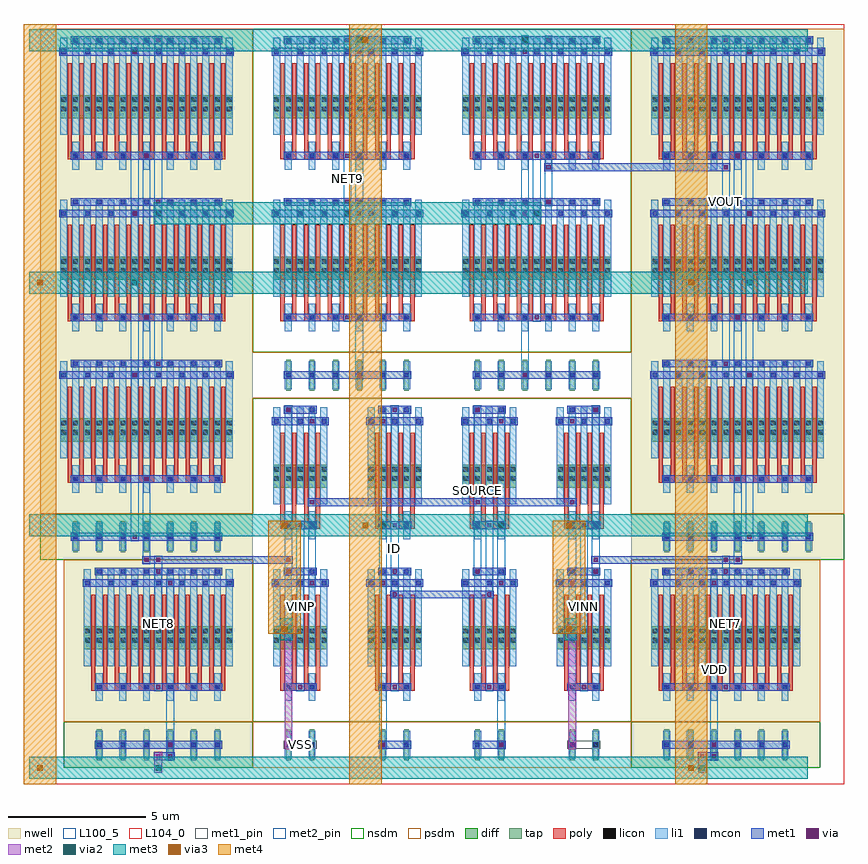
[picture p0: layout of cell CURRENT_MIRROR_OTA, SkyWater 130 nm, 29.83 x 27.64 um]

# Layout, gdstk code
import gdstk
lib = gdstk.Library(unit=1e-6, precision=1e-09)
def R(c, l, rs):  # rectangles x0, y0, x1, y1
    for r in rs: c.add(gdstk.rectangle(r[:2], r[2:], *l))
def A(c, l, x, y, w, h, nx, ny, dx, dy):  # array of equal rectangles
    R(c, l, [(x+i*dx, y+j*dy, x+i*dx+w, y+j*dy+h) for i in range(nx) for j in range(ny)])
nwell = (64, 20)
diff = (65, 20)
tap = (65, 44)
poly = (66, 20)
licon = (66, 44)
li1 = (67, 20)
mcon = (67, 44)
met1_pin = (68, 16)
met1 = (68, 20)
via = (68, 44)
met2_pin = (69, 16)
met2 = (69, 20)
via2 = (69, 44)
met3 = (70, 20)
via3 = (70, 44)
met4 = (71, 20)
nsdm = (93, 44)
psdm = (94, 20)
L100_5 = (100, 5)
L104_0 = (104, 0)

current_mirror_ota = lib.new_cell('CURRENT_MIRROR_OTA')
R(current_mirror_ota, nwell, [(0.86,0,7.74,7.56), (21.5,0,28.38,7.56), (0,7.56,7.74,26.88), (21.5,7.56,29.24,26.88)])
A(current_mirror_ota, diff, 8.475, 4.305, 1.97, 0.84, 4, 2, 3.44, 5.88)
A(current_mirror_ota, diff, 0.735, 11.865, 6.27, 0.84, 1, 3, 0, 5.88)
A(current_mirror_ota, diff, 22.235, 11.865, 6.27, 0.84, 1, 3, 0, 5.88)
R(current_mirror_ota, diff, [(1.595,4.305,7.005,5.145), (22.235,4.305,27.645,5.145), (8.475,17.745,13.885,18.585), (15.355,17.745,20.765,18.585), (8.475,23.625,13.885,24.465), (15.355,23.625,20.765,24.465)])
A(current_mirror_ota, tap, 2.065, 0.28, 0.17, 1.12, 6, 1, 0.86, 0)
A(current_mirror_ota, tap, 22.705, 0.28, 0.17, 1.12, 6, 1, 0.86, 0)
A(current_mirror_ota, tap, 1.205, 7.84, 0.17, 1.12, 7, 1, 0.86, 0)
A(current_mirror_ota, tap, 22.705, 7.84, 0.17, 1.12, 7, 1, 0.86, 0)
A(current_mirror_ota, tap, 8.945, 13.72, 0.17, 1.12, 6, 1, 0.86, 0)
A(current_mirror_ota, tap, 15.825, 13.72, 0.17, 1.12, 6, 1, 0.86, 0)
R(current_mirror_ota, tap, [(8.945,0.28,9.115,1.4), (9.805,0.28,9.975,1.4), (12.385,0.28,12.555,1.4), (13.245,0.28,13.415,1.4), (15.825,0.28,15.995,1.4), (16.685,0.28,16.855,1.4), (19.265,0.28,19.435,1.4), (20.125,0.28,20.295,1.4)])
A(current_mirror_ota, poly, 1.86, 2.805, 0.58, 0.27, 6, 1, 0.86, 0)
A(current_mirror_ota, poly, 22.5, 2.805, 0.58, 0.27, 6, 1, 0.86, 0)
A(current_mirror_ota, poly, 1.86, 2.94, 0.15, 3.36, 12, 1, 0.43, 0)
A(current_mirror_ota, poly, 8.74, 2.94, 0.15, 3.36, 4, 2, 0.43, 5.88)
A(current_mirror_ota, poly, 12.18, 2.94, 0.15, 3.36, 4, 2, 0.43, 5.88)
A(current_mirror_ota, poly, 15.62, 2.94, 0.15, 3.36, 4, 2, 0.43, 5.88)
A(current_mirror_ota, poly, 19.06, 2.94, 0.15, 3.36, 4, 2, 0.43, 5.88)
A(current_mirror_ota, poly, 22.5, 2.94, 0.15, 3.36, 12, 1, 0.43, 0)
A(current_mirror_ota, poly, 1, 10.365, 0.58, 0.27, 7, 3, 0.86, 5.88)
A(current_mirror_ota, poly, 22.5, 10.365, 0.58, 0.27, 7, 3, 0.86, 5.88)
A(current_mirror_ota, poly, 1, 10.5, 0.15, 3.36, 14, 3, 0.43, 5.88)
A(current_mirror_ota, poly, 22.5, 10.5, 0.15, 3.36, 14, 3, 0.43, 5.88)
A(current_mirror_ota, poly, 8.74, 16.245, 0.58, 0.27, 6, 2, 0.86, 5.88)
A(current_mirror_ota, poly, 15.62, 16.245, 0.58, 0.27, 6, 2, 0.86, 5.88)
A(current_mirror_ota, poly, 8.74, 16.38, 0.15, 3.36, 12, 2, 0.43, 5.88)
A(current_mirror_ota, poly, 15.62, 16.38, 0.15, 3.36, 12, 2, 0.43, 5.88)
R(current_mirror_ota, poly, [(8.74,2.805,9.32,3.075), (9.6,2.805,10.18,3.075), (12.18,2.805,12.76,3.075), (13.04,2.805,13.62,3.075), (15.62,2.805,16.2,3.075), (16.48,2.805,17.06,3.075), (19.06,2.805,19.64,3.075), (19.92,2.805,20.5,3.075), (8.74,8.685,9.32,8.955), (9.6,8.685,10.18,8.955), (12.18,8.685,12.76,8.955), (13.04,8.685,13.62,8.955), (15.62,8.685,16.2,8.955), (16.48,8.685,17.06,8.955), (19.06,8.685,19.64,8.955), (19.92,8.685,20.5,8.955)])
A(current_mirror_ota, licon, 2.065, 0.755, 0.17, 0.17, 6, 2, 0.86, 2.1)
A(current_mirror_ota, licon, 22.705, 0.755, 0.17, 0.17, 6, 2, 0.86, 2.1)
A(current_mirror_ota, licon, 1.635, 4.555, 0.17, 0.17, 3, 2, 0.43, 0.34)
A(current_mirror_ota, licon, 2.495, 4.555, 0.17, 0.17, 3, 2, 0.43, 0.34)
A(current_mirror_ota, licon, 3.355, 4.555, 0.17, 0.17, 3, 2, 0.43, 0.34)
A(current_mirror_ota, licon, 4.215, 4.555, 0.17, 0.17, 3, 2, 0.43, 0.34)
A(current_mirror_ota, licon, 5.075, 4.555, 0.17, 0.17, 3, 2, 0.43, 0.34)
A(current_mirror_ota, licon, 5.935, 4.555, 0.17, 0.17, 3, 2, 0.43, 0.34)
A(current_mirror_ota, licon, 8.515, 4.555, 0.17, 0.17, 3, 2, 0.43, 0.34)
A(current_mirror_ota, licon, 9.375, 4.555, 0.17, 0.17, 3, 2, 0.43, 0.34)
A(current_mirror_ota, licon, 11.955, 4.555, 0.17, 0.17, 3, 2, 0.43, 0.34)
A(current_mirror_ota, licon, 12.815, 4.555, 0.17, 0.17, 3, 2, 0.43, 0.34)
A(current_mirror_ota, licon, 15.395, 4.555, 0.17, 0.17, 3, 2, 0.43, 0.34)
A(current_mirror_ota, licon, 16.255, 4.555, 0.17, 0.17, 3, 2, 0.43, 0.34)
A(current_mirror_ota, licon, 18.835, 4.555, 0.17, 0.17, 3, 2, 0.43, 0.34)
A(current_mirror_ota, licon, 19.695, 4.555, 0.17, 0.17, 3, 2, 0.43, 0.34)
A(current_mirror_ota, licon, 22.275, 4.555, 0.17, 0.17, 3, 2, 0.43, 0.34)
A(current_mirror_ota, licon, 23.135, 4.555, 0.17, 0.17, 3, 2, 0.43, 0.34)
A(current_mirror_ota, licon, 23.995, 4.555, 0.17, 0.17, 3, 2, 0.43, 0.34)
A(current_mirror_ota, licon, 24.855, 4.555, 0.17, 0.17, 3, 2, 0.43, 0.34)
A(current_mirror_ota, licon, 25.715, 4.555, 0.17, 0.17, 3, 2, 0.43, 0.34)
A(current_mirror_ota, licon, 26.575, 4.555, 0.17, 0.17, 3, 2, 0.43, 0.34)
A(current_mirror_ota, licon, 1.205, 10.415, 0.17, 0.17, 7, 3, 0.86, 5.88)
A(current_mirror_ota, licon, 22.705, 10.415, 0.17, 0.17, 7, 3, 0.86, 5.88)
A(current_mirror_ota, licon, 8.515, 10.435, 0.17, 0.17, 3, 2, 0.43, 0.34)
A(current_mirror_ota, licon, 9.375, 10.435, 0.17, 0.17, 3, 2, 0.43, 0.34)
A(current_mirror_ota, licon, 11.955, 10.435, 0.17, 0.17, 3, 2, 0.43, 0.34)
A(current_mirror_ota, licon, 12.815, 10.435, 0.17, 0.17, 3, 2, 0.43, 0.34)
A(current_mirror_ota, licon, 15.395, 10.435, 0.17, 0.17, 3, 2, 0.43, 0.34)
A(current_mirror_ota, licon, 16.255, 10.435, 0.17, 0.17, 3, 2, 0.43, 0.34)
A(current_mirror_ota, licon, 18.835, 10.435, 0.17, 0.17, 3, 2, 0.43, 0.34)
A(current_mirror_ota, licon, 19.695, 10.435, 0.17, 0.17, 3, 2, 0.43, 0.34)
A(current_mirror_ota, licon, 0.775, 12.115, 0.17, 0.17, 3, 2, 0.43, 0.34)
A(current_mirror_ota, licon, 1.635, 12.115, 0.17, 0.17, 3, 2, 0.43, 0.34)
A(current_mirror_ota, licon, 2.495, 12.115, 0.17, 0.17, 3, 2, 0.43, 0.34)
A(current_mirror_ota, licon, 3.355, 12.115, 0.17, 0.17, 3, 2, 0.43, 0.34)
A(current_mirror_ota, licon, 4.215, 12.115, 0.17, 0.17, 3, 2, 0.43, 0.34)
A(current_mirror_ota, licon, 5.075, 12.115, 0.17, 0.17, 3, 2, 0.43, 0.34)
A(current_mirror_ota, licon, 5.935, 12.115, 0.17, 0.17, 3, 2, 0.43, 0.34)
A(current_mirror_ota, licon, 22.275, 12.115, 0.17, 0.17, 3, 2, 0.43, 0.34)
A(current_mirror_ota, licon, 23.135, 12.115, 0.17, 0.17, 3, 2, 0.43, 0.34)
A(current_mirror_ota, licon, 23.995, 12.115, 0.17, 0.17, 3, 2, 0.43, 0.34)
A(current_mirror_ota, licon, 24.855, 12.115, 0.17, 0.17, 3, 2, 0.43, 0.34)
A(current_mirror_ota, licon, 25.715, 12.115, 0.17, 0.17, 3, 2, 0.43, 0.34)
A(current_mirror_ota, licon, 26.575, 12.115, 0.17, 0.17, 3, 2, 0.43, 0.34)
A(current_mirror_ota, licon, 27.435, 12.115, 0.17, 0.17, 3, 2, 0.43, 0.34)
A(current_mirror_ota, licon, 8.945, 16.295, 0.17, 0.17, 6, 2, 0.86, 5.88)
A(current_mirror_ota, licon, 15.825, 16.295, 0.17, 0.17, 6, 2, 0.86, 5.88)
A(current_mirror_ota, licon, 0.775, 17.995, 0.17, 0.17, 3, 2, 0.43, 0.34)
A(current_mirror_ota, licon, 1.635, 17.995, 0.17, 0.17, 3, 2, 0.43, 0.34)
A(current_mirror_ota, licon, 2.495, 17.995, 0.17, 0.17, 3, 2, 0.43, 0.34)
A(current_mirror_ota, licon, 3.355, 17.995, 0.17, 0.17, 3, 2, 0.43, 0.34)
A(current_mirror_ota, licon, 4.215, 17.995, 0.17, 0.17, 3, 2, 0.43, 0.34)
A(current_mirror_ota, licon, 5.075, 17.995, 0.17, 0.17, 3, 2, 0.43, 0.34)
A(current_mirror_ota, licon, 5.935, 17.995, 0.17, 0.17, 3, 2, 0.43, 0.34)
A(current_mirror_ota, licon, 8.515, 17.995, 0.17, 0.17, 3, 2, 0.43, 0.34)
A(current_mirror_ota, licon, 9.375, 17.995, 0.17, 0.17, 3, 2, 0.43, 0.34)
A(current_mirror_ota, licon, 10.235, 17.995, 0.17, 0.17, 3, 2, 0.43, 0.34)
A(current_mirror_ota, licon, 11.095, 17.995, 0.17, 0.17, 3, 2, 0.43, 0.34)
A(current_mirror_ota, licon, 11.955, 17.995, 0.17, 0.17, 3, 2, 0.43, 0.34)
A(current_mirror_ota, licon, 12.815, 17.995, 0.17, 0.17, 3, 2, 0.43, 0.34)
A(current_mirror_ota, licon, 15.395, 17.995, 0.17, 0.17, 3, 2, 0.43, 0.34)
A(current_mirror_ota, licon, 16.255, 17.995, 0.17, 0.17, 3, 2, 0.43, 0.34)
A(current_mirror_ota, licon, 17.115, 17.995, 0.17, 0.17, 3, 2, 0.43, 0.34)
A(current_mirror_ota, licon, 17.975, 17.995, 0.17, 0.17, 3, 2, 0.43, 0.34)
A(current_mirror_ota, licon, 18.835, 17.995, 0.17, 0.17, 3, 2, 0.43, 0.34)
A(current_mirror_ota, licon, 19.695, 17.995, 0.17, 0.17, 3, 2, 0.43, 0.34)
A(current_mirror_ota, licon, 22.275, 17.995, 0.17, 0.17, 3, 2, 0.43, 0.34)
A(current_mirror_ota, licon, 23.135, 17.995, 0.17, 0.17, 3, 2, 0.43, 0.34)
A(current_mirror_ota, licon, 23.995, 17.995, 0.17, 0.17, 3, 2, 0.43, 0.34)
A(current_mirror_ota, licon, 24.855, 17.995, 0.17, 0.17, 3, 2, 0.43, 0.34)
A(current_mirror_ota, licon, 25.715, 17.995, 0.17, 0.17, 3, 2, 0.43, 0.34)
A(current_mirror_ota, licon, 26.575, 17.995, 0.17, 0.17, 3, 2, 0.43, 0.34)
A(current_mirror_ota, licon, 27.435, 17.995, 0.17, 0.17, 3, 2, 0.43, 0.34)
A(current_mirror_ota, licon, 0.775, 23.875, 0.17, 0.17, 3, 2, 0.43, 0.34)
A(current_mirror_ota, licon, 1.635, 23.875, 0.17, 0.17, 3, 2, 0.43, 0.34)
A(current_mirror_ota, licon, 2.495, 23.875, 0.17, 0.17, 3, 2, 0.43, 0.34)
A(current_mirror_ota, licon, 3.355, 23.875, 0.17, 0.17, 3, 2, 0.43, 0.34)
A(current_mirror_ota, licon, 4.215, 23.875, 0.17, 0.17, 3, 2, 0.43, 0.34)
A(current_mirror_ota, licon, 5.075, 23.875, 0.17, 0.17, 3, 2, 0.43, 0.34)
A(current_mirror_ota, licon, 5.935, 23.875, 0.17, 0.17, 3, 2, 0.43, 0.34)
A(current_mirror_ota, licon, 8.515, 23.875, 0.17, 0.17, 3, 2, 0.43, 0.34)
A(current_mirror_ota, licon, 9.375, 23.875, 0.17, 0.17, 3, 2, 0.43, 0.34)
A(current_mirror_ota, licon, 10.235, 23.875, 0.17, 0.17, 3, 2, 0.43, 0.34)
A(current_mirror_ota, licon, 11.095, 23.875, 0.17, 0.17, 3, 2, 0.43, 0.34)
A(current_mirror_ota, licon, 11.955, 23.875, 0.17, 0.17, 3, 2, 0.43, 0.34)
A(current_mirror_ota, licon, 12.815, 23.875, 0.17, 0.17, 3, 2, 0.43, 0.34)
A(current_mirror_ota, licon, 15.395, 23.875, 0.17, 0.17, 3, 2, 0.43, 0.34)
A(current_mirror_ota, licon, 16.255, 23.875, 0.17, 0.17, 3, 2, 0.43, 0.34)
A(current_mirror_ota, licon, 17.115, 23.875, 0.17, 0.17, 3, 2, 0.43, 0.34)
A(current_mirror_ota, licon, 17.975, 23.875, 0.17, 0.17, 3, 2, 0.43, 0.34)
A(current_mirror_ota, licon, 18.835, 23.875, 0.17, 0.17, 3, 2, 0.43, 0.34)
A(current_mirror_ota, licon, 19.695, 23.875, 0.17, 0.17, 3, 2, 0.43, 0.34)
A(current_mirror_ota, licon, 22.275, 23.875, 0.17, 0.17, 3, 2, 0.43, 0.34)
A(current_mirror_ota, licon, 23.135, 23.875, 0.17, 0.17, 3, 2, 0.43, 0.34)
A(current_mirror_ota, licon, 23.995, 23.875, 0.17, 0.17, 3, 2, 0.43, 0.34)
A(current_mirror_ota, licon, 24.855, 23.875, 0.17, 0.17, 3, 2, 0.43, 0.34)
A(current_mirror_ota, licon, 25.715, 23.875, 0.17, 0.17, 3, 2, 0.43, 0.34)
A(current_mirror_ota, licon, 26.575, 23.875, 0.17, 0.17, 3, 2, 0.43, 0.34)
A(current_mirror_ota, licon, 27.435, 23.875, 0.17, 0.17, 3, 2, 0.43, 0.34)
R(current_mirror_ota, licon, [(8.945,0.755,9.115,0.925), (8.945,0.755,9.115,0.925), (9.805,0.755,9.975,0.925), (9.805,0.755,9.975,0.925), (12.385,0.755,12.555,0.925), (12.385,0.755,12.555,0.925), (13.245,0.755,13.415,0.925), (13.245,0.755,13.415,0.925), (15.825,0.755,15.995,0.925), (15.825,0.755,15.995,0.925), (16.685,0.755,16.855,0.925), (16.685,0.755,16.855,0.925), (19.265,0.755,19.435,0.925), (19.265,0.755,19.435,0.925), (20.125,0.755,20.295,0.925), (20.125,0.755,20.295,0.925), (8.945,2.855,9.115,3.025), (9.805,2.855,9.975,3.025), (12.385,2.855,12.555,3.025), (13.245,2.855,13.415,3.025), (15.825,2.855,15.995,3.025), (16.685,2.855,16.855,3.025), (19.265,2.855,19.435,3.025), (20.125,2.855,20.295,3.025), (1.205,8.315,1.375,8.485), (1.205,8.315,1.375,8.485), (1.205,8.315,1.375,8.485), (2.065,8.315,2.235,8.485), (2.065,8.315,2.235,8.485), (2.065,8.315,2.235,8.485), (2.925,8.315,3.095,8.485), (2.925,8.315,3.095,8.485), (2.925,8.315,3.095,8.485), (3.785,8.315,3.955,8.485), (3.785,8.315,3.955,8.485), (3.785,8.315,3.955,8.485), (4.645,8.315,4.815,8.485), (4.645,8.315,4.815,8.485), (4.645,8.315,4.815,8.485), (5.505,8.315,5.675,8.485), (5.505,8.315,5.675,8.485), (5.505,8.315,5.675,8.485), (6.365,8.315,6.535,8.485), (6.365,8.315,6.535,8.485), (6.365,8.315,6.535,8.485), (22.705,8.315,22.875,8.485), (22.705,8.315,22.875,8.485), (22.705,8.315,22.875,8.485), (23.565,8.315,23.735,8.485), (23.565,8.315,23.735,8.485), (23.565,8.315,23.735,8.485), (24.425,8.315,24.595,8.485), (24.425,8.315,24.595,8.485), (24.425,8.315,24.595,8.485), (25.285,8.315,25.455,8.485), (25.285,8.315,25.455,8.485), (25.285,8.315,25.455,8.485), (26.145,8.315,26.315,8.485), (26.145,8.315,26.315,8.485), (26.145,8.315,26.315,8.485), (27.005,8.315,27.175,8.485), (27.005,8.315,27.175,8.485), (27.005,8.315,27.175,8.485), (27.865,8.315,28.035,8.485), (27.865,8.315,28.035,8.485), (27.865,8.315,28.035,8.485), (8.945,8.735,9.115,8.905), (9.805,8.735,9.975,8.905), (12.385,8.735,12.555,8.905), (13.245,8.735,13.415,8.905), (15.825,8.735,15.995,8.905), (16.685,8.735,16.855,8.905), (19.265,8.735,19.435,8.905), (20.125,8.735,20.295,8.905), (8.945,14.195,9.115,14.365), (8.945,14.195,9.115,14.365), (9.805,14.195,9.975,14.365), (9.805,14.195,9.975,14.365), (10.665,14.195,10.835,14.365), (10.665,14.195,10.835,14.365), (11.525,14.195,11.695,14.365), (11.525,14.195,11.695,14.365), (12.385,14.195,12.555,14.365), (12.385,14.195,12.555,14.365), (13.245,14.195,13.415,14.365), (13.245,14.195,13.415,14.365), (15.825,14.195,15.995,14.365), (15.825,14.195,15.995,14.365), (16.685,14.195,16.855,14.365), (16.685,14.195,16.855,14.365), (17.545,14.195,17.715,14.365), (17.545,14.195,17.715,14.365), (18.405,14.195,18.575,14.365), (18.405,14.195,18.575,14.365), (19.265,14.195,19.435,14.365), (19.265,14.195,19.435,14.365), (20.125,14.195,20.295,14.365), (20.125,14.195,20.295,14.365)])
A(current_mirror_ota, li1, 2.025, 0.335, 0.25, 1.01, 6, 2, 0.86, 2.1)
A(current_mirror_ota, li1, 22.665, 0.335, 0.25, 1.01, 6, 2, 0.86, 2.1)
A(current_mirror_ota, li1, 1.595, 3.695, 0.25, 3.53, 13, 1, 0.43, 0)
A(current_mirror_ota, li1, 8.475, 3.695, 0.25, 3.53, 5, 2, 0.43, 5.88)
A(current_mirror_ota, li1, 11.915, 3.695, 0.25, 3.53, 5, 2, 0.43, 5.88)
A(current_mirror_ota, li1, 15.355, 3.695, 0.25, 3.53, 5, 2, 0.43, 5.88)
A(current_mirror_ota, li1, 18.795, 3.695, 0.25, 3.53, 5, 2, 0.43, 5.88)
A(current_mirror_ota, li1, 22.235, 3.695, 0.25, 3.53, 13, 1, 0.43, 0)
A(current_mirror_ota, li1, 1.165, 7.895, 0.25, 1.01, 7, 2, 0.86, 2.1)
A(current_mirror_ota, li1, 22.665, 7.895, 0.25, 1.01, 7, 2, 0.86, 2.1)
A(current_mirror_ota, li1, 0.735, 11.255, 0.25, 3.53, 15, 3, 0.43, 5.88)
A(current_mirror_ota, li1, 22.235, 11.255, 0.25, 3.53, 15, 3, 0.43, 5.88)
A(current_mirror_ota, li1, 8.905, 13.775, 0.25, 1.01, 6, 2, 0.86, 2.1)
A(current_mirror_ota, li1, 15.785, 13.775, 0.25, 1.01, 6, 2, 0.86, 2.1)
A(current_mirror_ota, li1, 1.165, 15.875, 0.25, 1.01, 7, 2, 0.86, 5.88)
A(current_mirror_ota, li1, 22.665, 15.875, 0.25, 1.01, 7, 2, 0.86, 5.88)
A(current_mirror_ota, li1, 8.475, 17.135, 0.25, 3.53, 13, 2, 0.43, 5.88)
A(current_mirror_ota, li1, 15.355, 17.135, 0.25, 3.53, 13, 2, 0.43, 5.88)
A(current_mirror_ota, li1, 8.905, 21.755, 0.25, 1.01, 6, 1, 0.86, 0)
A(current_mirror_ota, li1, 15.785, 21.755, 0.25, 1.01, 6, 1, 0.86, 0)
R(current_mirror_ota, li1, [(8.905,0.335,9.155,1.345), (9.765,0.335,10.015,1.345), (12.345,0.335,12.595,1.345), (13.205,0.335,13.455,1.345), (15.785,0.335,16.035,1.345), (16.645,0.335,16.895,1.345), (19.225,0.335,19.475,1.345), (20.085,0.335,20.335,1.345), (8.905,2.435,9.155,3.445), (9.765,2.435,10.015,3.445), (12.345,2.435,12.595,3.445), (13.205,2.435,13.455,3.445), (15.785,2.435,16.035,3.445), (16.645,2.435,16.895,3.445), (19.225,2.435,19.475,3.445), (20.085,2.435,20.335,3.445), (8.905,8.315,9.155,9.325), (9.765,8.315,10.015,9.325), (12.345,8.315,12.595,9.325), (13.205,8.315,13.455,9.325), (15.785,8.315,16.035,9.325), (16.645,8.315,16.895,9.325), (19.225,8.315,19.475,9.325), (20.085,8.315,20.335,9.325)])
A(current_mirror_ota, mcon, 2.065, 0.755, 0.17, 0.17, 6, 2, 0.86, 2.1)
A(current_mirror_ota, mcon, 22.705, 0.755, 0.17, 0.17, 6, 2, 0.86, 2.1)
A(current_mirror_ota, mcon, 1.635, 6.635, 0.17, 0.17, 7, 1, 0.86, 0)
A(current_mirror_ota, mcon, 8.515, 6.635, 0.17, 0.17, 3, 2, 0.86, 5.88)
A(current_mirror_ota, mcon, 11.955, 6.635, 0.17, 0.17, 3, 2, 0.86, 5.88)
A(current_mirror_ota, mcon, 15.395, 6.635, 0.17, 0.17, 3, 2, 0.86, 5.88)
A(current_mirror_ota, mcon, 18.835, 6.635, 0.17, 0.17, 3, 2, 0.86, 5.88)
A(current_mirror_ota, mcon, 22.275, 6.635, 0.17, 0.17, 7, 1, 0.86, 0)
A(current_mirror_ota, mcon, 2.065, 7.055, 0.17, 0.17, 6, 1, 0.86, 0)
A(current_mirror_ota, mcon, 22.705, 7.055, 0.17, 0.17, 6, 1, 0.86, 0)
A(current_mirror_ota, mcon, 1.205, 8.315, 0.17, 0.17, 7, 2, 0.86, 2.1)
A(current_mirror_ota, mcon, 22.705, 8.315, 0.17, 0.17, 7, 2, 0.86, 2.1)
A(current_mirror_ota, mcon, 0.775, 14.195, 0.17, 0.17, 8, 3, 0.86, 5.88)
A(current_mirror_ota, mcon, 8.945, 14.195, 0.17, 0.17, 6, 2, 0.86, 2.1)
A(current_mirror_ota, mcon, 15.825, 14.195, 0.17, 0.17, 6, 2, 0.86, 2.1)
A(current_mirror_ota, mcon, 22.275, 14.195, 0.17, 0.17, 8, 3, 0.86, 5.88)
A(current_mirror_ota, mcon, 1.205, 14.615, 0.17, 0.17, 7, 2, 0.86, 1.68)
A(current_mirror_ota, mcon, 22.705, 14.615, 0.17, 0.17, 7, 2, 0.86, 1.68)
A(current_mirror_ota, mcon, 8.515, 20.075, 0.17, 0.17, 7, 2, 0.86, 5.88)
A(current_mirror_ota, mcon, 15.395, 20.075, 0.17, 0.17, 7, 2, 0.86, 5.88)
A(current_mirror_ota, mcon, 1.205, 20.495, 0.17, 0.17, 7, 2, 0.86, 1.68)
A(current_mirror_ota, mcon, 8.945, 20.495, 0.17, 0.17, 6, 2, 0.86, 1.68)
A(current_mirror_ota, mcon, 15.825, 20.495, 0.17, 0.17, 6, 2, 0.86, 1.68)
A(current_mirror_ota, mcon, 22.705, 20.495, 0.17, 0.17, 7, 2, 0.86, 1.68)
A(current_mirror_ota, mcon, 1.205, 26.375, 0.17, 0.17, 7, 1, 0.86, 0)
A(current_mirror_ota, mcon, 8.945, 26.375, 0.17, 0.17, 6, 1, 0.86, 0)
A(current_mirror_ota, mcon, 15.825, 26.375, 0.17, 0.17, 6, 1, 0.86, 0)
A(current_mirror_ota, mcon, 22.705, 26.375, 0.17, 0.17, 7, 1, 0.86, 0)
R(current_mirror_ota, mcon, [(8.945,0.755,9.115,0.925), (9.805,0.755,9.975,0.925), (12.385,0.755,12.555,0.925), (13.245,0.755,13.415,0.925), (15.825,0.755,15.995,0.925), (16.685,0.755,16.855,0.925), (19.265,0.755,19.435,0.925), (20.125,0.755,20.295,0.925), (8.945,2.855,9.115,3.025), (9.805,2.855,9.975,3.025), (12.385,2.855,12.555,3.025), (13.245,2.855,13.415,3.025), (15.825,2.855,15.995,3.025), (16.685,2.855,16.855,3.025), (19.265,2.855,19.435,3.025), (20.125,2.855,20.295,3.025), (8.945,7.055,9.115,7.225), (9.805,7.055,9.975,7.225), (12.385,7.055,12.555,7.225), (13.245,7.055,13.415,7.225), (15.825,7.055,15.995,7.225), (16.685,7.055,16.855,7.225), (19.265,7.055,19.435,7.225), (20.125,7.055,20.295,7.225), (8.945,8.735,9.115,8.905), (9.805,8.735,9.975,8.905), (12.385,8.735,12.555,8.905), (13.245,8.735,13.415,8.905), (15.825,8.735,15.995,8.905), (16.685,8.735,16.855,8.905), (19.265,8.735,19.435,8.905), (20.125,8.735,20.295,8.905), (8.945,12.935,9.115,13.105), (9.805,12.935,9.975,13.105), (12.385,12.935,12.555,13.105), (13.245,12.935,13.415,13.105), (15.825,12.935,15.995,13.105), (16.685,12.935,16.855,13.105), (19.265,12.935,19.435,13.105), (20.125,12.935,20.295,13.105)])
R(current_mirror_ota, met1_pin, [(8.86,0.7,10.06,0.98), (19.18,0.7,20.38,0.98)])
A(current_mirror_ota, met1, 8.86, 2.8, 1.2, 0.28, 4, 2, 3.44, 4.2)
A(current_mirror_ota, met1, 8.43, 6.58, 2.06, 0.28, 4, 2, 3.44, 5.88)
A(current_mirror_ota, met1, 8.86, 8.68, 1.2, 0.28, 4, 2, 3.44, 4.2)
A(current_mirror_ota, met1, 0.69, 14.14, 6.36, 0.28, 1, 3, 0, 5.88)
A(current_mirror_ota, met1, 22.19, 14.14, 6.36, 0.28, 1, 3, 0, 5.88)
R(current_mirror_ota, met1, [(4.14,0.28,4.89,0.56), (23.92,0.28,24.67,0.56), (1.98,0.7,6.62,0.98), (12.3,0.7,13.5,0.98), (15.74,0.7,16.94,0.98), (22.62,0.7,27.26,0.98), (1.98,2.8,6.62,3.08), (22.62,2.8,27.26,3.08), (12.74,6.16,16.5,6.44), (1.55,6.58,7.05,6.86), (22.19,6.58,27.69,6.86), (1.98,7,6.62,7.28), (22.62,7,27.26,7.28), (3.71,7.42,9.19,7.7), (20.05,7.42,25.53,7.7), (1.12,8.26,6.62,8.54), (22.62,8.26,28.12,8.54), (9.73,9.52,19.51,9.8), (1.12,10.36,6.62,10.64), (22.62,10.36,28.12,10.64), (8.86,14.14,13.5,14.42), (15.74,14.14,20.38,14.42), (1.12,14.56,6.62,14.84), (22.62,14.56,28.12,14.84), (1.12,16.24,6.62,16.52), (8.86,16.24,13.5,16.52), (15.74,16.24,20.38,16.52), (22.62,16.24,28.12,16.52), (8.43,20.02,13.93,20.3), (15.31,20.02,20.81,20.3), (1.12,20.44,6.62,20.72), (8.86,20.44,13.5,20.72), (15.74,20.44,20.38,20.72), (22.62,20.44,28.12,20.72), (18.33,21.7,25.1,21.98), (1.12,22.12,6.62,22.4), (8.86,22.12,13.5,22.4), (15.74,22.12,20.38,22.4), (22.62,22.12,28.12,22.4), (8.43,25.9,13.93,26.18), (15.31,25.9,20.81,26.18), (1.12,26.32,6.62,26.6), (8.86,26.32,13.5,26.6), (15.74,26.32,20.38,26.6), (22.62,26.32,28.12,26.6)])
A(current_mirror_ota, via, 12.395, 0.765, 0.15, 0.15, 1, 3, 0, 5.88)
A(current_mirror_ota, via, 16.695, 0.765, 0.15, 0.15, 1, 3, 0, 5.88)
A(current_mirror_ota, via, 9.385, 2.865, 0.15, 0.15, 4, 2, 3.44, 5.88)
A(current_mirror_ota, via, 9.815, 6.645, 0.15, 0.15, 1, 3, 0, 2.94)
A(current_mirror_ota, via, 19.275, 6.645, 0.15, 0.15, 1, 3, 0, 2.94)
A(current_mirror_ota, via, 3.365, 8.325, 0.15, 0.15, 1, 4, 0, 5.88)
A(current_mirror_ota, via, 25.725, 8.325, 0.15, 0.15, 1, 4, 0, 5.88)
A(current_mirror_ota, via, 3.795, 10.425, 0.15, 0.15, 1, 3, 0, 5.88)
A(current_mirror_ota, via, 25.295, 10.425, 0.15, 0.15, 1, 3, 0, 5.88)
A(current_mirror_ota, via, 11.535, 14.205, 0.15, 0.15, 1, 3, 0, 5.88)
A(current_mirror_ota, via, 17.555, 14.205, 0.15, 0.15, 1, 3, 0, 5.88)
A(current_mirror_ota, via, 4.225, 14.625, 0.15, 0.15, 1, 3, 0, 5.88)
R(current_mirror_ota, via, [(4.225,0.345,4.375,0.495), (4.655,0.345,4.805,0.495), (24.005,0.345,24.155,0.495), (24.435,0.345,24.585,0.495), (4.655,0.765,4.805,0.915), (8.955,0.765,9.105,0.915), (19.275,0.765,19.425,0.915), (24.435,0.765,24.585,0.915), (4.225,2.865,4.375,3.015), (24.865,2.865,25.015,3.015), (12.825,6.225,12.975,6.375), (16.265,6.225,16.415,6.375), (4.655,6.645,4.805,6.795), (24.435,6.645,24.585,6.795), (4.225,7.065,4.375,7.215), (8.955,7.065,9.105,7.215), (12.825,7.065,12.975,7.215), (15.835,7.065,15.985,7.215), (20.135,7.065,20.285,7.215), (24.865,7.065,25.015,7.215), (3.795,7.485,3.945,7.635), (4.225,7.485,4.375,7.635), (8.955,7.485,9.105,7.635), (20.135,7.485,20.285,7.635), (24.865,7.485,25.015,7.635), (25.295,7.485,25.445,7.635), (15.835,9.585,15.985,9.735), (8.955,12.945,9.105,13.095), (12.825,12.945,12.975,13.095), (15.835,12.945,15.985,13.095), (20.135,12.945,20.285,13.095), (24.865,14.625,25.015,14.775), (11.105,16.305,11.255,16.455), (17.985,16.305,18.135,16.455), (11.105,20.505,11.255,20.655), (18.415,20.505,18.565,20.655), (24.865,20.505,25.015,20.655), (18.415,21.765,18.565,21.915), (24.865,21.765,25.015,21.915), (11.105,22.185,11.255,22.335), (17.985,22.185,18.135,22.335), (11.105,26.385,11.255,26.535), (18.415,26.385,18.565,26.535), (24.865,26.385,25.015,26.535)])
R(current_mirror_ota, met2_pin, [(4.59,0.26,4.87,6.88), (24.37,0.26,24.65,6.88), (12.33,0.68,12.61,12.76), (16.63,0.68,16.91,12.76), (4.16,2.78,4.44,7.72), (9.32,2.78,9.6,8.98), (12.76,2.78,13.04,13.18), (16.2,2.78,16.48,8.98), (19.64,2.78,19.92,8.98), (24.8,2.78,25.08,7.72), (9.75,6.56,10.03,12.76), (19.21,6.56,19.49,12.76), (8.89,6.98,9.17,13.18), (15.77,6.98,16.05,13.18), (20.07,6.98,20.35,13.18), (3.73,7.4,4.01,22.42), (25.23,7.4,25.51,22.42), (3.3,8.24,3.58,26.2), (25.66,8.24,25.94,26.2), (11.47,14.12,11.75,26.645), (17.49,14.12,17.77,26.645), (4.16,14.54,4.44,26.62), (24.8,14.54,25.08,26.62), (11.04,16.22,11.32,26.62), (17.92,16.22,18.2,22.42), (18.35,20.42,18.63,26.62)])
R(current_mirror_ota, met2, [(4.16,-0.185,4.44,0.58), (23.94,-0.185,24.22,0.58), (8.89,0.68,9.17,5.225), (19.21,0.68,19.49,5.225)])
A(current_mirror_ota, via2, 4.2, 20.06, 0.2, 0.2, 3, 1, 6.88, 0)
R(current_mirror_ota, via2, [(4.2,-0.1,4.4,0.1), (23.98,-0.1,24.18,0.1), (8.93,4.94,9.13,5.14), (19.25,4.94,19.45,5.14), (12.37,8.72,12.57,8.92), (16.67,8.72,16.87,8.92), (3.34,17.54,3.54,17.74), (25.7,17.54,25.9,17.74), (11.51,26.36,11.71,26.56), (17.53,26.36,17.73,26.56)])
A(current_mirror_ota, met3, -0.4, -0.4, 28.32, 0.8, 1, 4, 0, 8.82)
R(current_mirror_ota, met3, [(8.715,4.64,9.195,5.44), (19.075,4.64,19.515,5.44), (4.135,19.76,18.225,20.56)])
R(current_mirror_ota, via3, [(-0.1,-0.1,0.1,0.1), (23.58,-0.1,23.78,0.1), (8.78,4.94,8.98,5.14), (19.14,4.94,19.34,5.14), (8.78,8.72,8.98,8.92), (11.74,8.72,11.94,8.92), (19.14,8.72,19.34,8.92), (-0.1,17.54,0.1,17.74), (23.58,17.54,23.78,17.74), (11.74,26.36,11.94,26.56)])
A(current_mirror_ota, met4, -0.59, -0.59, 1.18, 27.64, 3, 1, 11.84, 0)
R(current_mirror_ota, met4, [(8.29,4.875,9.47,8.985), (18.65,4.875,19.83,8.985)])
A(current_mirror_ota, nsdm, 7.74, 1.68, 3.44, 11.76, 4, 1, 3.44, 0)
R(current_mirror_ota, nsdm, [(0.86,0,7.74,1.68), (21.5,0,28.38,1.68), (0,7.56,7.74,9.24), (21.5,7.56,29.24,9.24), (7.74,15.12,14.62,26.88), (14.62,15.12,21.5,26.88)])
A(current_mirror_ota, psdm, 7.74, 0, 3.44, 1.68, 4, 1, 3.44, 0)
R(current_mirror_ota, psdm, [(0.86,1.68,7.74,7.56), (21.5,1.68,28.38,7.56), (0,9.24,7.74,26.88), (21.5,9.24,29.24,26.88), (7.74,13.44,14.62,15.12), (14.62,13.44,21.5,15.12)])
R(current_mirror_ota, L100_5, [(-0.59,-0.59,29.24,27.05)])
R(current_mirror_ota, L104_0, [(-0.59,-0.59,29.24,27.05)])
current_mirror_ota.add(gdstk.Label('VSS', (9.46,0.84), layer=68, texttype=5))
current_mirror_ota.add(gdstk.Label('ID', (12.9,7.98), layer=69, texttype=5))
current_mirror_ota.add(gdstk.Label('NET9', (11.18,21.42), layer=69, texttype=5))
current_mirror_ota.add(gdstk.Label('NET7', (24.94,5.25), layer=69, texttype=5))
current_mirror_ota.add(gdstk.Label('VOUT', (24.94,20.58), layer=69, texttype=5))
current_mirror_ota.add(gdstk.Label('VDD', (24.51,3.57), layer=69, texttype=5))
current_mirror_ota.add(gdstk.Label('NET8', (4.3,5.25), layer=69, texttype=5))
current_mirror_ota.add(gdstk.Label('SOURCE', (15.91,10.08), layer=69, texttype=5))
current_mirror_ota.add(gdstk.Label('VINN', (19.78,5.88), layer=69, texttype=5))
current_mirror_ota.add(gdstk.Label('VINP', (9.46,5.88), layer=69, texttype=5))

lib.write_gds('CURRENT_MIRROR_OTA.gds')
